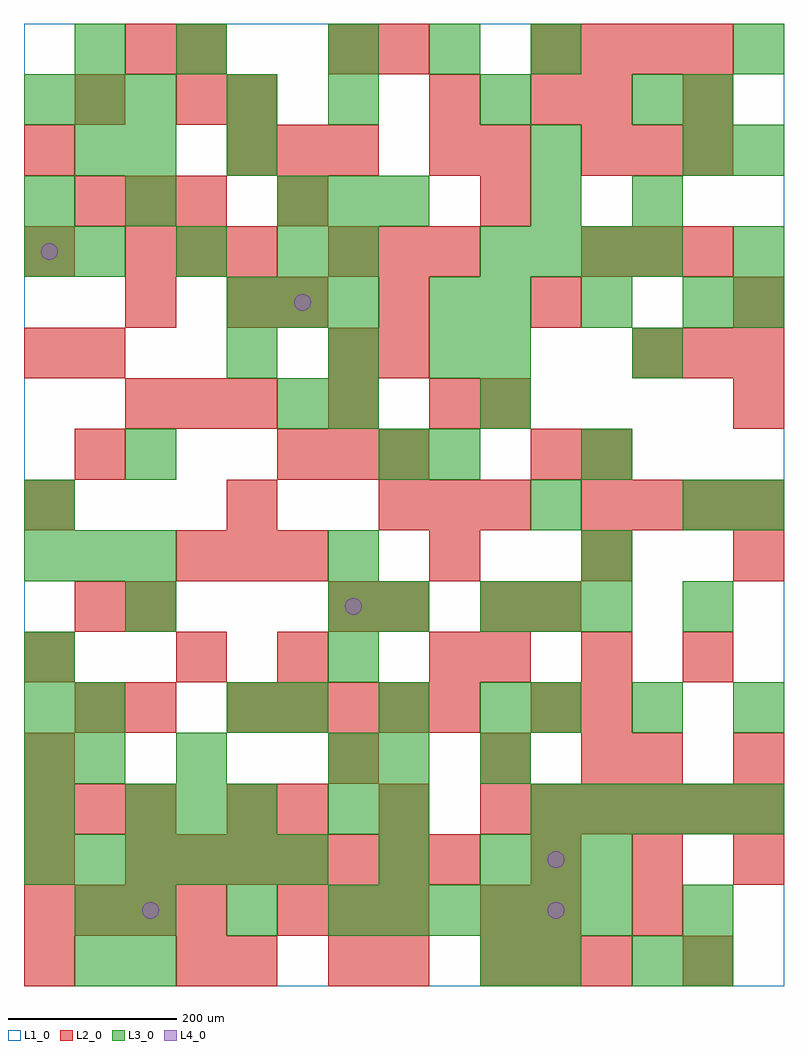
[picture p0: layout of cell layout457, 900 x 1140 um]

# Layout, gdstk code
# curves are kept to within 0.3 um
import gdstk
lib = gdstk.Library(unit=1e-6, precision=1e-09)
def R(c, l, rs):  # rectangles x0, y0, x1, y1
    for r in rs: c.add(gdstk.rectangle(r[:2], r[2:], *l))
def A(c, l, x, y, w, h, nx, ny, dx, dy):  # array of equal rectangles
    R(c, l, [(x+i*dx, y+j*dy, x+i*dx+w, y+j*dy+h) for i in range(nx) for j in range(ny)])
def P(c, l, *ps):  # polygons
    for p in ps: c.add(gdstk.Polygon(p, *l))
L1_0 = (1, 0)
L2_0 = (2, 0)
L3_0 = (3, 0)
L4_0 = (4, 0)

layout457 = lib.new_cell('layout457')
R(layout457, L1_0, [(0,0,900,1140)])
A(layout457, L2_0, 0, 0, 60, 60, 1, 4, 0, 120)
A(layout457, L2_0, 540, 0, 60, 60, 3, 1, 60, 0)
A(layout457, L2_0, 0, 60, 60, 60, 4, 1, 60, 0)
A(layout457, L2_0, 300, 60, 60, 60, 3, 2, 60, 540)
A(layout457, L2_0, 540, 60, 60, 60, 1, 3, 0, 180)
A(layout457, L2_0, 120, 120, 60, 60, 7, 1, 60, 0)
A(layout457, L2_0, 600, 120, 60, 60, 3, 1, 120, 0)
A(layout457, L2_0, 0, 180, 60, 60, 3, 1, 60, 0)
A(layout457, L2_0, 300, 180, 60, 60, 3, 1, 120, 0)
A(layout457, L2_0, 600, 180, 60, 60, 5, 1, 60, 0)
A(layout457, L2_0, 240, 300, 60, 60, 5, 1, 60, 0)
A(layout457, L2_0, 480, 360, 60, 60, 1, 3, 0, 300)
A(layout457, L2_0, 540, 360, 60, 60, 3, 1, 120, 0)
A(layout457, L2_0, 600, 420, 60, 60, 1, 3, 0, 180)
A(layout457, L2_0, 180, 480, 60, 60, 3, 1, 60, 0)
A(layout457, L2_0, 480, 480, 60, 60, 3, 1, 180, 0)
A(layout457, L2_0, 240, 540, 60, 60, 1, 3, 0, 240)
A(layout457, L2_0, 420, 540, 60, 60, 3, 1, 60, 0)
A(layout457, L2_0, 660, 540, 60, 60, 4, 1, 60, 0)
A(layout457, L2_0, 120, 660, 60, 60, 3, 2, 60, 180)
A(layout457, L2_0, 0, 720, 60, 60, 1, 3, 0, 120)
A(layout457, L2_0, 720, 720, 60, 60, 3, 1, 60, 0)
A(layout457, L2_0, 360, 840, 60, 60, 3, 1, 60, 0)
A(layout457, L2_0, 660, 840, 60, 60, 3, 2, 60, 120)
A(layout457, L2_0, 60, 900, 60, 60, 3, 1, 60, 0)
A(layout457, L2_0, 240, 960, 60, 60, 3, 1, 60, 0)
A(layout457, L2_0, 600, 1080, 60, 60, 4, 1, 60, 0)
R(layout457, L2_0, [(180,0,240,60), (240,0,300,60), (360,0,420,60), (420,0,480,60), (780,0,840,60), (600,60,660,120), (720,60,780,120), (240,180,300,240), (360,240,420,300), (660,240,720,300), (720,240,780,300), (840,240,900,300), (60,300,120,360), (120,300,180,360), (600,300,660,360), (660,300,720,360), (180,360,240,420), (300,360,360,420), (60,420,120,480), (120,420,180,480), (360,420,420,480), (420,420,480,480), (0,540,60,600), (60,600,120,660), (660,600,720,660), (360,660,420,720), (540,660,600,720), (840,660,900,720), (60,720,120,780), (360,720,420,780), (420,720,480,780), (120,780,180,840), (300,780,360,840), (420,780,480,840), (840,780,900,840), (300,900,360,960), (540,900,600,960), (540,960,600,1020), (60,1020,120,1080), (180,1020,240,1080), (480,1020,540,1080), (600,1020,660,1080), (660,1020,720,1080), (780,1020,840,1080), (120,1080,180,1140), (180,1080,240,1140), (360,1080,420,1140), (420,1080,480,1140)])
A(layout457, L3_0, 120, 60, 60, 60, 3, 1, 120, 0)
A(layout457, L3_0, 420, 60, 60, 60, 5, 1, 60, 0)
A(layout457, L3_0, 0, 120, 60, 60, 6, 1, 60, 0)
A(layout457, L3_0, 420, 120, 60, 60, 1, 3, 0, 60)
A(layout457, L3_0, 540, 120, 60, 60, 3, 2, 60, 300)
A(layout457, L3_0, 0, 180, 60, 60, 1, 4, 0, 60)
A(layout457, L3_0, 120, 180, 60, 60, 3, 1, 60, 0)
A(layout457, L3_0, 600, 180, 60, 60, 5, 1, 60, 0)
A(layout457, L3_0, 300, 300, 60, 60, 3, 1, 120, 0)
A(layout457, L3_0, 600, 300, 60, 60, 3, 1, 120, 0)
A(layout457, L3_0, 360, 360, 60, 60, 1, 3, 0, 60)
A(layout457, L3_0, 0, 480, 60, 60, 3, 2, 60, 540)
A(layout457, L3_0, 240, 720, 60, 60, 3, 1, 120, 0)
A(layout457, L3_0, 240, 780, 60, 60, 3, 1, 60, 0)
A(layout457, L3_0, 540, 780, 60, 60, 3, 1, 120, 0)
A(layout457, L3_0, 60, 840, 60, 60, 3, 1, 120, 0)
A(layout457, L3_0, 540, 840, 60, 60, 4, 1, 60, 0)
A(layout457, L3_0, 840, 840, 60, 60, 1, 3, 0, 120)
A(layout457, L3_0, 300, 900, 60, 60, 3, 1, 60, 0)
A(layout457, L3_0, 360, 1020, 60, 60, 3, 1, 180, 0)
A(layout457, L3_0, 360, 1080, 60, 60, 3, 1, 120, 0)
R(layout457, L3_0, [(60,0,120,60), (120,0,180,60), (540,0,600,60), (600,0,660,60), (720,0,780,60), (780,0,840,60), (60,60,120,120), (780,60,840,120), (360,180,420,240), (60,240,120,300), (180,240,240,300), (360,240,420,300), (540,240,600,300), (60,300,120,360), (240,300,300,360), (120,420,180,480), (420,420,480,480), (780,420,840,480), (660,480,720,540), (0,540,60,600), (600,540,660,600), (780,540,840,600), (840,540,900,600), (120,600,180,660), (420,600,480,660), (480,600,540,660), (660,600,720,660), (300,660,360,720), (360,660,420,720), (540,660,600,720), (540,720,600,780), (720,720,780,780), (480,780,540,840), (840,780,900,840), (0,840,60,900), (360,840,420,900), (0,900,60,960), (120,900,180,960), (600,900,660,960), (720,900,780,960), (60,960,120,1020), (120,960,180,1020), (240,960,300,1020), (600,960,660,1020), (780,960,840,1020), (240,1020,300,1080), (780,1020,840,1080), (60,1080,120,1140), (180,1080,240,1140)])
P(layout457, L4_0, [(40,870),(39.239,873.827),(37.071,877.071),(33.827,879.239),(30,880),(26.173,879.239),(22.929,877.071),(20.761,873.827),(20,870),(20.761,866.173),(22.929,862.929),(26.173,860.761),(30,860),(33.827,860.761),(37.071,862.929),(39.239,866.173)],
  [(160,90),(159.239,93.827),(157.071,97.071),(153.827,99.239),(150,100),(146.173,99.239),(142.929,97.071),(140.761,93.827),(140,90),(140.761,86.173),(142.929,82.929),(146.173,80.761),(150,80),(153.827,80.761),(157.071,82.929),(159.239,86.173)],
  [(340,810),(339.239,813.827),(337.071,817.071),(333.827,819.239),(330,820),(326.173,819.239),(322.929,817.071),(320.761,813.827),(320,810),(320.761,806.173),(322.929,802.929),(326.173,800.761),(330,800),(333.827,800.761),(337.071,802.929),(339.239,806.173)],
  [(400,450),(399.239,453.827),(397.071,457.071),(393.827,459.239),(390,460),(386.173,459.239),(382.929,457.071),(380.761,453.827),(380,450),(380.761,446.173),(382.929,442.929),(386.173,440.761),(390,440),(393.827,440.761),(397.071,442.929),(399.239,446.173)],
  [(640,90),(639.239,93.827),(637.071,97.071),(633.827,99.239),(630,100),(626.173,99.239),(622.929,97.071),(620.761,93.827),(620,90),(620.761,86.173),(622.929,82.929),(626.173,80.761),(630,80),(633.827,80.761),(637.071,82.929),(639.239,86.173)],
  [(640,150),(639.239,153.827),(637.071,157.071),(633.827,159.239),(630,160),(626.173,159.239),(622.929,157.071),(620.761,153.827),(620,150),(620.761,146.173),(622.929,142.929),(626.173,140.761),(630,140),(633.827,140.761),(637.071,142.929),(639.239,146.173)])

lib.write_gds('layout457.gds')
